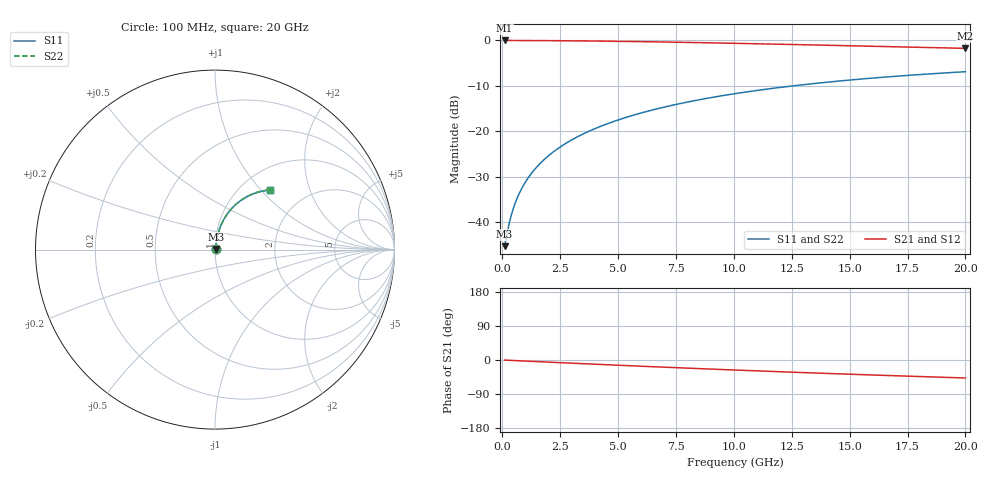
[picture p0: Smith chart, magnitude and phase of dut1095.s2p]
! Touchstone file exported from HFSS 2024.1.0
!  File:  C:/UserFiles/LocalFiles/RDL_TSV_Batchsim/temp_RDL_bottom_1095_1780053771.aedt
!  Generated:  07:27:46 PM May 29, 2026
!  Design:  RDL_bottom
!  Project:  temp_RDL_bottom_1095_1780053771
!  Setup:  Setup1
!  Solution:  Sweep
! Variables:
!  dtsv = 10.80580581um
!  hbump = 3um
!  htsv = 94.31um
!  ldown = 692.31um
!  lrdl = 100um
!  p = 40
!  p1 = 40.93um
!  rhole = 1um
!  t = 450um
!  tdown = 3.59um
!  trdl = 3.915915916um
!  wdown = 14.86um
!  wrdl = 20um
# GHz S MA R 50.000000
! Terminal data exported
! Port[1] = RDL1_T1
! Port[2] = RDL1_T2
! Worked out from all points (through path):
!   200 points, 100 MHz to 20 GHz, reference 50 ohm
!   highest |S21| = -0.04 dB at 100 MHz (marker M1); lowest = -1.8 dB at 20 GHz (marker M2)
!   group delay of S21, straight-line fit = 6.59 ps
!   lowest |S11| = -45.2 dB at 100 MHz (marker M3), VSWR 1.01, Z = 50.5 + j0.289 ohm
!   |S11| at or under -10 dB: start of sweep to 12.57 GHz
!   |S22| runs from -45.2 to -6.9 dB; largest |S21 - S12| = 2.1e-15
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0.1  0.005497 31.4  0.9953 -0.3  0.9953 -0.3  0.005497 31.4
! Gamma 0 0 0 0
! Port Impedance 50 0 50 0
0.2  0.007462 49.7  0.9952 -0.6  0.9952 -0.6  0.007462 49.7
0.3  0.00983 59.4  0.995 -0.9  0.995 -0.9  0.00983 59.4
0.4  0.01233 65.0  0.9948 -1.2  0.9948 -1.2  0.01233 65.0
0.5  0.01487 68.6  0.9946 -1.4  0.9946 -1.4  0.01487 68.6
0.6  0.01743 71.2  0.9944 -1.7  0.9944 -1.7  0.01743 71.2
0.8  0.0226 74.5  0.994 -2.3  0.994 -2.3  0.0226 74.5
1.1  0.03043 77.2  0.9934 -3.1  0.9934 -3.1  0.03043 77.2
1.3  0.03568 78.2  0.9929 -3.7  0.9929 -3.7  0.03568 78.3
1.6  0.04359 79.2  0.9921 -4.5  0.9921 -4.5  0.04359 79.2
2.1  0.05684 79.8  0.9905 -5.9  0.9905 -5.9  0.05684 79.8
2.7  0.07276 79.7  0.988 -7.6  0.988 -7.6  0.07276 79.7
3.5  0.09395 78.9  0.9839 -9.8  0.9839 -9.8  0.09396 79.0
4.2  0.1124 78.0  0.9796 -11.7  0.9796 -11.7  0.1124 78.0
5  0.1334 76.7  0.9739 -13.8  0.9739 -13.8  0.1334 76.7
5.9  0.1568 75.1  0.9667 -16.2  0.9667 -16.2  0.1568 75.1
6.8  0.1798 73.3  0.9589 -18.5  0.9589 -18.5  0.1798 73.4
8.3  0.2174 70.4  0.9445 -22.3  0.9445 -22.3  0.2174 70.4
10.1  0.2607 66.7  0.9257 -26.6  0.9257 -26.6  0.2607 66.7
13.4  0.3338 59.9  0.8891 -34.1  0.8891 -34.1  0.3339 59.9
16.7  0.3976 53.4  0.8516 -41.1  0.8516 -41.1  0.3977 53.4
20  0.4517 47.3  0.8151 -47.5  0.8151 -47.5  0.4518 47.3
